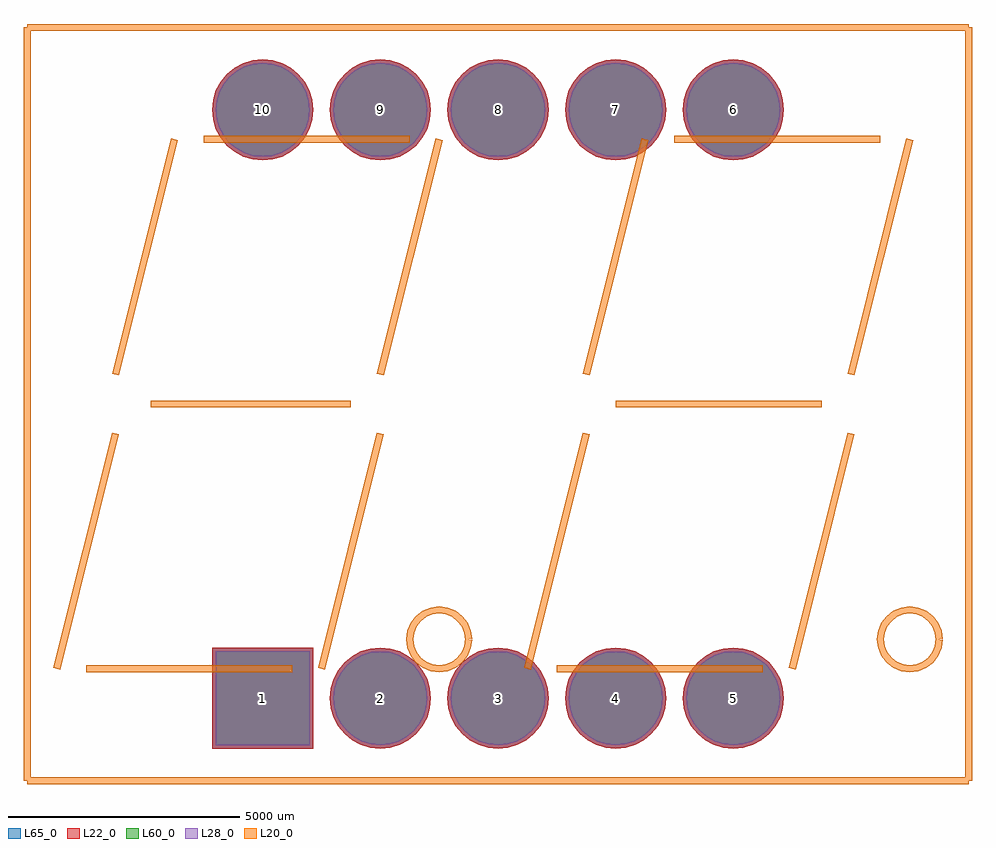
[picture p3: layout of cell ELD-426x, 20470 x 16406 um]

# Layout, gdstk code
import gdstk
lib = gdstk.Library(unit=1e-6, precision=1e-09)
def R(c, l, rs):  # rectangles x0, y0, x1, y1
    for r in rs: c.add(gdstk.rectangle(r[:2], r[2:], *l))
def P(c, l, *ps):  # polygons
    for p in ps: c.add(gdstk.Polygon(p, *l))
L20_0 = (20, 0)
L22_0 = (22, 0)
L28_0 = (28, 0)
L60_0 = (60, 0)
L65_0 = (65, 0)

eld_426x = lib.new_cell('ELD-426x')
R(eld_426x, L22_0, [(-6171,-7441,-3989,-5259)])
P(eld_426x, L22_0, [(1091,6350),(1070.037,6562.844),(1007.953,6767.508),(907.133,6956.127),(771.453,7121.453),(606.127,7257.133),(417.508,7357.953),(212.844,7420.037),(0,7441),(-212.844,7420.037),(-417.508,7357.953),(-606.127,7257.133),(-771.453,7121.453),(-907.133,6956.127),(-1007.953,6767.508),(-1070.037,6562.844),(-1091,6350),(-1070.037,6137.156),(-1007.953,5932.492),(-907.133,5743.873),(-771.453,5578.547),(-606.127,5442.867),(-417.508,5342.047),(-212.844,5279.963),(0,5259),(212.844,5279.963),(417.508,5342.047),(606.127,5442.867),(771.453,5578.547),(907.133,5743.873),(1007.953,5932.492),(1070.037,6137.156)],
  [(6171,6350),(6150.037,6562.844),(6087.953,6767.508),(5987.133,6956.127),(5851.453,7121.453),(5686.127,7257.133),(5497.508,7357.953),(5292.844,7420.037),(5080,7441),(4867.156,7420.037),(4662.492,7357.953),(4473.873,7257.133),(4308.547,7121.453),(4172.867,6956.127),(4072.047,6767.508),(4009.963,6562.844),(3989,6350),(4009.963,6137.156),(4072.047,5932.492),(4172.867,5743.873),(4308.547,5578.547),(4473.873,5442.867),(4662.492,5342.047),(4867.156,5279.963),(5080,5259),(5292.844,5279.963),(5497.508,5342.047),(5686.127,5442.867),(5851.453,5578.547),(5987.133,5743.873),(6087.953,5932.492),(6150.037,6137.156)],
  [(3631,6350),(3610.037,6562.844),(3547.953,6767.508),(3447.133,6956.127),(3311.453,7121.453),(3146.127,7257.133),(2957.508,7357.953),(2752.844,7420.037),(2540,7441),(2327.156,7420.037),(2122.492,7357.953),(1933.873,7257.133),(1768.547,7121.453),(1632.867,6956.127),(1532.047,6767.508),(1469.963,6562.844),(1449,6350),(1469.963,6137.156),(1532.047,5932.492),(1632.867,5743.873),(1768.547,5578.547),(1933.873,5442.867),(2122.492,5342.047),(2327.156,5279.963),(2540,5259),(2752.844,5279.963),(2957.508,5342.047),(3146.127,5442.867),(3311.453,5578.547),(3447.133,5743.873),(3547.953,5932.492),(3610.037,6137.156)],
  [(6171,-6350),(6150.037,-6137.156),(6087.953,-5932.492),(5987.133,-5743.873),(5851.453,-5578.547),(5686.127,-5442.867),(5497.508,-5342.047),(5292.844,-5279.963),(5080,-5259),(4867.156,-5279.963),(4662.492,-5342.047),(4473.873,-5442.867),(4308.547,-5578.547),(4172.867,-5743.873),(4072.047,-5932.492),(4009.963,-6137.156),(3989,-6350),(4009.963,-6562.844),(4072.047,-6767.508),(4172.867,-6956.127),(4308.547,-7121.453),(4473.873,-7257.133),(4662.492,-7357.953),(4867.156,-7420.037),(5080,-7441),(5292.844,-7420.037),(5497.508,-7357.953),(5686.127,-7257.133),(5851.453,-7121.453),(5987.133,-6956.127),(6087.953,-6767.508),(6150.037,-6562.844)],
  [(-3989,6350),(-4009.963,6562.844),(-4072.047,6767.508),(-4172.867,6956.127),(-4308.547,7121.453),(-4473.873,7257.133),(-4662.492,7357.953),(-4867.156,7420.037),(-5080,7441),(-5292.844,7420.037),(-5497.508,7357.953),(-5686.127,7257.133),(-5851.453,7121.453),(-5987.133,6956.127),(-6087.953,6767.508),(-6150.037,6562.844),(-6171,6350),(-6150.037,6137.156),(-6087.953,5932.492),(-5987.133,5743.873),(-5851.453,5578.547),(-5686.127,5442.867),(-5497.508,5342.047),(-5292.844,5279.963),(-5080,5259),(-4867.156,5279.963),(-4662.492,5342.047),(-4473.873,5442.867),(-4308.547,5578.547),(-4172.867,5743.873),(-4072.047,5932.492),(-4009.963,6137.156)],
  [(-1449,6350),(-1469.963,6562.844),(-1532.047,6767.508),(-1632.867,6956.127),(-1768.547,7121.453),(-1933.873,7257.133),(-2122.492,7357.953),(-2327.156,7420.037),(-2540,7441),(-2752.844,7420.037),(-2957.508,7357.953),(-3146.127,7257.133),(-3311.453,7121.453),(-3447.133,6956.127),(-3547.953,6767.508),(-3610.037,6562.844),(-3631,6350),(-3610.037,6137.156),(-3547.953,5932.492),(-3447.133,5743.873),(-3311.453,5578.547),(-3146.127,5442.867),(-2957.508,5342.047),(-2752.844,5279.963),(-2540,5259),(-2327.156,5279.963),(-2122.492,5342.047),(-1933.873,5442.867),(-1768.547,5578.547),(-1632.867,5743.873),(-1532.047,5932.492),(-1469.963,6137.156)],
  [(3631,-6350),(3610.037,-6137.156),(3547.953,-5932.492),(3447.133,-5743.873),(3311.453,-5578.547),(3146.127,-5442.867),(2957.508,-5342.047),(2752.844,-5279.963),(2540,-5259),(2327.156,-5279.963),(2122.492,-5342.047),(1933.873,-5442.867),(1768.547,-5578.547),(1632.867,-5743.873),(1532.047,-5932.492),(1469.963,-6137.156),(1449,-6350),(1469.963,-6562.844),(1532.047,-6767.508),(1632.867,-6956.127),(1768.547,-7121.453),(1933.873,-7257.133),(2122.492,-7357.953),(2327.156,-7420.037),(2540,-7441),(2752.844,-7420.037),(2957.508,-7357.953),(3146.127,-7257.133),(3311.453,-7121.453),(3447.133,-6956.127),(3547.953,-6767.508),(3610.037,-6562.844)],
  [(1091,-6350),(1070.037,-6137.156),(1007.953,-5932.492),(907.133,-5743.873),(771.453,-5578.547),(606.127,-5442.867),(417.508,-5342.047),(212.844,-5279.963),(0,-5259),(-212.844,-5279.963),(-417.508,-5342.047),(-606.127,-5442.867),(-771.453,-5578.547),(-907.133,-5743.873),(-1007.953,-5932.492),(-1070.037,-6137.156),(-1091,-6350),(-1070.037,-6562.844),(-1007.953,-6767.508),(-907.133,-6956.127),(-771.453,-7121.453),(-606.127,-7257.133),(-417.508,-7357.953),(-212.844,-7420.037),(0,-7441),(212.844,-7420.037),(417.508,-7357.953),(606.127,-7257.133),(771.453,-7121.453),(907.133,-6956.127),(1007.953,-6767.508),(1070.037,-6562.844)],
  [(-1449,-6350),(-1469.963,-6137.156),(-1532.047,-5932.492),(-1632.867,-5743.873),(-1768.547,-5578.547),(-1933.873,-5442.867),(-2122.492,-5342.047),(-2327.156,-5279.963),(-2540,-5259),(-2752.844,-5279.963),(-2957.508,-5342.047),(-3146.127,-5442.867),(-3311.453,-5578.547),(-3447.133,-5743.873),(-3547.953,-5932.492),(-3610.037,-6137.156),(-3631,-6350),(-3610.037,-6562.844),(-3547.953,-6767.508),(-3447.133,-6956.127),(-3311.453,-7121.453),(-3146.127,-7257.133),(-2957.508,-7357.953),(-2752.844,-7420.037),(-2540,-7441),(-2327.156,-7420.037),(-2122.492,-7357.953),(-1933.873,-7257.133),(-1768.547,-7121.453),(-1632.867,-6956.127),(-1532.047,-6767.508),(-1469.963,-6562.844)])
R(eld_426x, L28_0, [(-6096,-7366,-4064,-5334)])
P(eld_426x, L28_0, [(1016,6350),(996.478,6548.212),(938.662,6738.806),(844.773,6914.459),(718.42,7068.42),(564.459,7194.773),(388.806,7288.662),(198.212,7346.478),(0,7366),(-198.212,7346.478),(-388.806,7288.662),(-564.459,7194.773),(-718.42,7068.42),(-844.773,6914.459),(-938.662,6738.806),(-996.478,6548.212),(-1016,6350),(-996.478,6151.788),(-938.662,5961.194),(-844.773,5785.541),(-718.42,5631.58),(-564.459,5505.227),(-388.806,5411.338),(-198.212,5353.522),(0,5334),(198.212,5353.522),(388.806,5411.338),(564.459,5505.227),(718.42,5631.58),(844.773,5785.541),(938.662,5961.194),(996.478,6151.788)],
  [(6096,6350),(6076.478,6548.212),(6018.662,6738.806),(5924.773,6914.459),(5798.42,7068.42),(5644.459,7194.773),(5468.806,7288.662),(5278.212,7346.478),(5080,7366),(4881.788,7346.478),(4691.194,7288.662),(4515.541,7194.773),(4361.58,7068.42),(4235.227,6914.459),(4141.338,6738.806),(4083.522,6548.212),(4064,6350),(4083.522,6151.788),(4141.338,5961.194),(4235.227,5785.541),(4361.58,5631.58),(4515.541,5505.227),(4691.194,5411.338),(4881.788,5353.522),(5080,5334),(5278.212,5353.522),(5468.806,5411.338),(5644.459,5505.227),(5798.42,5631.58),(5924.773,5785.541),(6018.662,5961.194),(6076.478,6151.788)],
  [(3556,6350),(3536.478,6548.212),(3478.662,6738.806),(3384.773,6914.459),(3258.42,7068.42),(3104.459,7194.773),(2928.806,7288.662),(2738.212,7346.478),(2540,7366),(2341.788,7346.478),(2151.194,7288.662),(1975.541,7194.773),(1821.58,7068.42),(1695.227,6914.459),(1601.338,6738.806),(1543.522,6548.212),(1524,6350),(1543.522,6151.788),(1601.338,5961.194),(1695.227,5785.541),(1821.58,5631.58),(1975.541,5505.227),(2151.194,5411.338),(2341.788,5353.522),(2540,5334),(2738.212,5353.522),(2928.806,5411.338),(3104.459,5505.227),(3258.42,5631.58),(3384.773,5785.541),(3478.662,5961.194),(3536.478,6151.788)],
  [(6096,-6350),(6076.478,-6151.788),(6018.662,-5961.194),(5924.773,-5785.541),(5798.42,-5631.58),(5644.459,-5505.227),(5468.806,-5411.338),(5278.212,-5353.522),(5080,-5334),(4881.788,-5353.522),(4691.194,-5411.338),(4515.541,-5505.227),(4361.58,-5631.58),(4235.227,-5785.541),(4141.338,-5961.194),(4083.522,-6151.788),(4064,-6350),(4083.522,-6548.212),(4141.338,-6738.806),(4235.227,-6914.459),(4361.58,-7068.42),(4515.541,-7194.773),(4691.194,-7288.662),(4881.788,-7346.478),(5080,-7366),(5278.212,-7346.478),(5468.806,-7288.662),(5644.459,-7194.773),(5798.42,-7068.42),(5924.773,-6914.459),(6018.662,-6738.806),(6076.478,-6548.212)],
  [(-4064,6350),(-4083.522,6548.212),(-4141.338,6738.806),(-4235.227,6914.459),(-4361.58,7068.42),(-4515.541,7194.773),(-4691.194,7288.662),(-4881.788,7346.478),(-5080,7366),(-5278.212,7346.478),(-5468.806,7288.662),(-5644.459,7194.773),(-5798.42,7068.42),(-5924.773,6914.459),(-6018.662,6738.806),(-6076.478,6548.212),(-6096,6350),(-6076.478,6151.788),(-6018.662,5961.194),(-5924.773,5785.541),(-5798.42,5631.58),(-5644.459,5505.227),(-5468.806,5411.338),(-5278.212,5353.522),(-5080,5334),(-4881.788,5353.522),(-4691.194,5411.338),(-4515.541,5505.227),(-4361.58,5631.58),(-4235.227,5785.541),(-4141.338,5961.194),(-4083.522,6151.788)],
  [(-1524,6350),(-1543.522,6548.212),(-1601.338,6738.806),(-1695.227,6914.459),(-1821.58,7068.42),(-1975.541,7194.773),(-2151.194,7288.662),(-2341.788,7346.478),(-2540,7366),(-2738.212,7346.478),(-2928.806,7288.662),(-3104.459,7194.773),(-3258.42,7068.42),(-3384.773,6914.459),(-3478.662,6738.806),(-3536.478,6548.212),(-3556,6350),(-3536.478,6151.788),(-3478.662,5961.194),(-3384.773,5785.541),(-3258.42,5631.58),(-3104.459,5505.227),(-2928.806,5411.338),(-2738.212,5353.522),(-2540,5334),(-2341.788,5353.522),(-2151.194,5411.338),(-1975.541,5505.227),(-1821.58,5631.58),(-1695.227,5785.541),(-1601.338,5961.194),(-1543.522,6151.788)],
  [(3556,-6350),(3536.478,-6151.788),(3478.662,-5961.194),(3384.773,-5785.541),(3258.42,-5631.58),(3104.459,-5505.227),(2928.806,-5411.338),(2738.212,-5353.522),(2540,-5334),(2341.788,-5353.522),(2151.194,-5411.338),(1975.541,-5505.227),(1821.58,-5631.58),(1695.227,-5785.541),(1601.338,-5961.194),(1543.522,-6151.788),(1524,-6350),(1543.522,-6548.212),(1601.338,-6738.806),(1695.227,-6914.459),(1821.58,-7068.42),(1975.541,-7194.773),(2151.194,-7288.662),(2341.788,-7346.478),(2540,-7366),(2738.212,-7346.478),(2928.806,-7288.662),(3104.459,-7194.773),(3258.42,-7068.42),(3384.773,-6914.459),(3478.662,-6738.806),(3536.478,-6548.212)],
  [(1016,-6350),(996.478,-6151.788),(938.662,-5961.194),(844.773,-5785.541),(718.42,-5631.58),(564.459,-5505.227),(388.806,-5411.338),(198.212,-5353.522),(0,-5334),(-198.212,-5353.522),(-388.806,-5411.338),(-564.459,-5505.227),(-718.42,-5631.58),(-844.773,-5785.541),(-938.662,-5961.194),(-996.478,-6151.788),(-1016,-6350),(-996.478,-6548.212),(-938.662,-6738.806),(-844.773,-6914.459),(-718.42,-7068.42),(-564.459,-7194.773),(-388.806,-7288.662),(-198.212,-7346.478),(0,-7366),(198.212,-7346.478),(388.806,-7288.662),(564.459,-7194.773),(718.42,-7068.42),(844.773,-6914.459),(938.662,-6738.806),(996.478,-6548.212)],
  [(-1524,-6350),(-1543.522,-6151.788),(-1601.338,-5961.194),(-1695.227,-5785.541),(-1821.58,-5631.58),(-1975.541,-5505.227),(-2151.194,-5411.338),(-2341.788,-5353.522),(-2540,-5334),(-2738.212,-5353.522),(-2928.806,-5411.338),(-3104.459,-5505.227),(-3258.42,-5631.58),(-3384.773,-5785.541),(-3478.662,-5961.194),(-3536.478,-6151.788),(-3556,-6350),(-3536.478,-6548.212),(-3478.662,-6738.806),(-3384.773,-6914.459),(-3258.42,-7068.42),(-3104.459,-7194.773),(-2928.806,-7288.662),(-2738.212,-7346.478),(-2540,-7366),(-2341.788,-7346.478),(-2151.194,-7288.662),(-1975.541,-7194.773),(-1821.58,-7068.42),(-1695.227,-6914.459),(-1601.338,-6738.806),(-1543.522,-6548.212)])
R(eld_426x, L60_0, [(-6096,-7366,-4064,-5334)])
P(eld_426x, L60_0, [(1016,6350),(996.478,6548.212),(938.662,6738.806),(844.773,6914.459),(718.42,7068.42),(564.459,7194.773),(388.806,7288.662),(198.212,7346.478),(0,7366),(-198.212,7346.478),(-388.806,7288.662),(-564.459,7194.773),(-718.42,7068.42),(-844.773,6914.459),(-938.662,6738.806),(-996.478,6548.212),(-1016,6350),(-996.478,6151.788),(-938.662,5961.194),(-844.773,5785.541),(-718.42,5631.58),(-564.459,5505.227),(-388.806,5411.338),(-198.212,5353.522),(0,5334),(198.212,5353.522),(388.806,5411.338),(564.459,5505.227),(718.42,5631.58),(844.773,5785.541),(938.662,5961.194),(996.478,6151.788)],
  [(6096,6350),(6076.478,6548.212),(6018.662,6738.806),(5924.773,6914.459),(5798.42,7068.42),(5644.459,7194.773),(5468.806,7288.662),(5278.212,7346.478),(5080,7366),(4881.788,7346.478),(4691.194,7288.662),(4515.541,7194.773),(4361.58,7068.42),(4235.227,6914.459),(4141.338,6738.806),(4083.522,6548.212),(4064,6350),(4083.522,6151.788),(4141.338,5961.194),(4235.227,5785.541),(4361.58,5631.58),(4515.541,5505.227),(4691.194,5411.338),(4881.788,5353.522),(5080,5334),(5278.212,5353.522),(5468.806,5411.338),(5644.459,5505.227),(5798.42,5631.58),(5924.773,5785.541),(6018.662,5961.194),(6076.478,6151.788)],
  [(3556,6350),(3536.478,6548.212),(3478.662,6738.806),(3384.773,6914.459),(3258.42,7068.42),(3104.459,7194.773),(2928.806,7288.662),(2738.212,7346.478),(2540,7366),(2341.788,7346.478),(2151.194,7288.662),(1975.541,7194.773),(1821.58,7068.42),(1695.227,6914.459),(1601.338,6738.806),(1543.522,6548.212),(1524,6350),(1543.522,6151.788),(1601.338,5961.194),(1695.227,5785.541),(1821.58,5631.58),(1975.541,5505.227),(2151.194,5411.338),(2341.788,5353.522),(2540,5334),(2738.212,5353.522),(2928.806,5411.338),(3104.459,5505.227),(3258.42,5631.58),(3384.773,5785.541),(3478.662,5961.194),(3536.478,6151.788)],
  [(6096,-6350),(6076.478,-6151.788),(6018.662,-5961.194),(5924.773,-5785.541),(5798.42,-5631.58),(5644.459,-5505.227),(5468.806,-5411.338),(5278.212,-5353.522),(5080,-5334),(4881.788,-5353.522),(4691.194,-5411.338),(4515.541,-5505.227),(4361.58,-5631.58),(4235.227,-5785.541),(4141.338,-5961.194),(4083.522,-6151.788),(4064,-6350),(4083.522,-6548.212),(4141.338,-6738.806),(4235.227,-6914.459),(4361.58,-7068.42),(4515.541,-7194.773),(4691.194,-7288.662),(4881.788,-7346.478),(5080,-7366),(5278.212,-7346.478),(5468.806,-7288.662),(5644.459,-7194.773),(5798.42,-7068.42),(5924.773,-6914.459),(6018.662,-6738.806),(6076.478,-6548.212)],
  [(-4064,6350),(-4083.522,6548.212),(-4141.338,6738.806),(-4235.227,6914.459),(-4361.58,7068.42),(-4515.541,7194.773),(-4691.194,7288.662),(-4881.788,7346.478),(-5080,7366),(-5278.212,7346.478),(-5468.806,7288.662),(-5644.459,7194.773),(-5798.42,7068.42),(-5924.773,6914.459),(-6018.662,6738.806),(-6076.478,6548.212),(-6096,6350),(-6076.478,6151.788),(-6018.662,5961.194),(-5924.773,5785.541),(-5798.42,5631.58),(-5644.459,5505.227),(-5468.806,5411.338),(-5278.212,5353.522),(-5080,5334),(-4881.788,5353.522),(-4691.194,5411.338),(-4515.541,5505.227),(-4361.58,5631.58),(-4235.227,5785.541),(-4141.338,5961.194),(-4083.522,6151.788)],
  [(-1524,6350),(-1543.522,6548.212),(-1601.338,6738.806),(-1695.227,6914.459),(-1821.58,7068.42),(-1975.541,7194.773),(-2151.194,7288.662),(-2341.788,7346.478),(-2540,7366),(-2738.212,7346.478),(-2928.806,7288.662),(-3104.459,7194.773),(-3258.42,7068.42),(-3384.773,6914.459),(-3478.662,6738.806),(-3536.478,6548.212),(-3556,6350),(-3536.478,6151.788),(-3478.662,5961.194),(-3384.773,5785.541),(-3258.42,5631.58),(-3104.459,5505.227),(-2928.806,5411.338),(-2738.212,5353.522),(-2540,5334),(-2341.788,5353.522),(-2151.194,5411.338),(-1975.541,5505.227),(-1821.58,5631.58),(-1695.227,5785.541),(-1601.338,5961.194),(-1543.522,6151.788)],
  [(3556,-6350),(3536.478,-6151.788),(3478.662,-5961.194),(3384.773,-5785.541),(3258.42,-5631.58),(3104.459,-5505.227),(2928.806,-5411.338),(2738.212,-5353.522),(2540,-5334),(2341.788,-5353.522),(2151.194,-5411.338),(1975.541,-5505.227),(1821.58,-5631.58),(1695.227,-5785.541),(1601.338,-5961.194),(1543.522,-6151.788),(1524,-6350),(1543.522,-6548.212),(1601.338,-6738.806),(1695.227,-6914.459),(1821.58,-7068.42),(1975.541,-7194.773),(2151.194,-7288.662),(2341.788,-7346.478),(2540,-7366),(2738.212,-7346.478),(2928.806,-7288.662),(3104.459,-7194.773),(3258.42,-7068.42),(3384.773,-6914.459),(3478.662,-6738.806),(3536.478,-6548.212)],
  [(1016,-6350),(996.478,-6151.788),(938.662,-5961.194),(844.773,-5785.541),(718.42,-5631.58),(564.459,-5505.227),(388.806,-5411.338),(198.212,-5353.522),(0,-5334),(-198.212,-5353.522),(-388.806,-5411.338),(-564.459,-5505.227),(-718.42,-5631.58),(-844.773,-5785.541),(-938.662,-5961.194),(-996.478,-6151.788),(-1016,-6350),(-996.478,-6548.212),(-938.662,-6738.806),(-844.773,-6914.459),(-718.42,-7068.42),(-564.459,-7194.773),(-388.806,-7288.662),(-198.212,-7346.478),(0,-7366),(198.212,-7346.478),(388.806,-7288.662),(564.459,-7194.773),(718.42,-7068.42),(844.773,-6914.459),(938.662,-6738.806),(996.478,-6548.212)],
  [(-1524,-6350),(-1543.522,-6151.788),(-1601.338,-5961.194),(-1695.227,-5785.541),(-1821.58,-5631.58),(-1975.541,-5505.227),(-2151.194,-5411.338),(-2341.788,-5353.522),(-2540,-5334),(-2738.212,-5353.522),(-2928.806,-5411.338),(-3104.459,-5505.227),(-3258.42,-5631.58),(-3384.773,-5785.541),(-3478.662,-5961.194),(-3536.478,-6151.788),(-3556,-6350),(-3536.478,-6548.212),(-3478.662,-6738.806),(-3384.773,-6914.459),(-3258.42,-7068.42),(-3104.459,-7194.773),(-2928.806,-7288.662),(-2738.212,-7346.478),(-2540,-7366),(-2341.788,-7346.478),(-2151.194,-7288.662),(-1975.541,-7194.773),(-1821.58,-7068.42),(-1695.227,-6914.459),(-1601.338,-6738.806),(-1543.522,-6548.212)])
R(eld_426x, L65_0, [(-6171,-7441,-3989,-5259)])
P(eld_426x, L65_0, [(1091,6350),(1070.037,6562.844),(1007.953,6767.508),(907.133,6956.127),(771.453,7121.453),(606.127,7257.133),(417.508,7357.953),(212.844,7420.037),(0,7441),(-212.844,7420.037),(-417.508,7357.953),(-606.127,7257.133),(-771.453,7121.453),(-907.133,6956.127),(-1007.953,6767.508),(-1070.037,6562.844),(-1091,6350),(-1070.037,6137.156),(-1007.953,5932.492),(-907.133,5743.873),(-771.453,5578.547),(-606.127,5442.867),(-417.508,5342.047),(-212.844,5279.963),(0,5259),(212.844,5279.963),(417.508,5342.047),(606.127,5442.867),(771.453,5578.547),(907.133,5743.873),(1007.953,5932.492),(1070.037,6137.156)],
  [(6171,6350),(6150.037,6562.844),(6087.953,6767.508),(5987.133,6956.127),(5851.453,7121.453),(5686.127,7257.133),(5497.508,7357.953),(5292.844,7420.037),(5080,7441),(4867.156,7420.037),(4662.492,7357.953),(4473.873,7257.133),(4308.547,7121.453),(4172.867,6956.127),(4072.047,6767.508),(4009.963,6562.844),(3989,6350),(4009.963,6137.156),(4072.047,5932.492),(4172.867,5743.873),(4308.547,5578.547),(4473.873,5442.867),(4662.492,5342.047),(4867.156,5279.963),(5080,5259),(5292.844,5279.963),(5497.508,5342.047),(5686.127,5442.867),(5851.453,5578.547),(5987.133,5743.873),(6087.953,5932.492),(6150.037,6137.156)],
  [(3631,6350),(3610.037,6562.844),(3547.953,6767.508),(3447.133,6956.127),(3311.453,7121.453),(3146.127,7257.133),(2957.508,7357.953),(2752.844,7420.037),(2540,7441),(2327.156,7420.037),(2122.492,7357.953),(1933.873,7257.133),(1768.547,7121.453),(1632.867,6956.127),(1532.047,6767.508),(1469.963,6562.844),(1449,6350),(1469.963,6137.156),(1532.047,5932.492),(1632.867,5743.873),(1768.547,5578.547),(1933.873,5442.867),(2122.492,5342.047),(2327.156,5279.963),(2540,5259),(2752.844,5279.963),(2957.508,5342.047),(3146.127,5442.867),(3311.453,5578.547),(3447.133,5743.873),(3547.953,5932.492),(3610.037,6137.156)],
  [(6171,-6350),(6150.037,-6137.156),(6087.953,-5932.492),(5987.133,-5743.873),(5851.453,-5578.547),(5686.127,-5442.867),(5497.508,-5342.047),(5292.844,-5279.963),(5080,-5259),(4867.156,-5279.963),(4662.492,-5342.047),(4473.873,-5442.867),(4308.547,-5578.547),(4172.867,-5743.873),(4072.047,-5932.492),(4009.963,-6137.156),(3989,-6350),(4009.963,-6562.844),(4072.047,-6767.508),(4172.867,-6956.127),(4308.547,-7121.453),(4473.873,-7257.133),(4662.492,-7357.953),(4867.156,-7420.037),(5080,-7441),(5292.844,-7420.037),(5497.508,-7357.953),(5686.127,-7257.133),(5851.453,-7121.453),(5987.133,-6956.127),(6087.953,-6767.508),(6150.037,-6562.844)],
  [(-3989,6350),(-4009.963,6562.844),(-4072.047,6767.508),(-4172.867,6956.127),(-4308.547,7121.453),(-4473.873,7257.133),(-4662.492,7357.953),(-4867.156,7420.037),(-5080,7441),(-5292.844,7420.037),(-5497.508,7357.953),(-5686.127,7257.133),(-5851.453,7121.453),(-5987.133,6956.127),(-6087.953,6767.508),(-6150.037,6562.844),(-6171,6350),(-6150.037,6137.156),(-6087.953,5932.492),(-5987.133,5743.873),(-5851.453,5578.547),(-5686.127,5442.867),(-5497.508,5342.047),(-5292.844,5279.963),(-5080,5259),(-4867.156,5279.963),(-4662.492,5342.047),(-4473.873,5442.867),(-4308.547,5578.547),(-4172.867,5743.873),(-4072.047,5932.492),(-4009.963,6137.156)],
  [(-1449,6350),(-1469.963,6562.844),(-1532.047,6767.508),(-1632.867,6956.127),(-1768.547,7121.453),(-1933.873,7257.133),(-2122.492,7357.953),(-2327.156,7420.037),(-2540,7441),(-2752.844,7420.037),(-2957.508,7357.953),(-3146.127,7257.133),(-3311.453,7121.453),(-3447.133,6956.127),(-3547.953,6767.508),(-3610.037,6562.844),(-3631,6350),(-3610.037,6137.156),(-3547.953,5932.492),(-3447.133,5743.873),(-3311.453,5578.547),(-3146.127,5442.867),(-2957.508,5342.047),(-2752.844,5279.963),(-2540,5259),(-2327.156,5279.963),(-2122.492,5342.047),(-1933.873,5442.867),(-1768.547,5578.547),(-1632.867,5743.873),(-1532.047,5932.492),(-1469.963,6137.156)],
  [(3631,-6350),(3610.037,-6137.156),(3547.953,-5932.492),(3447.133,-5743.873),(3311.453,-5578.547),(3146.127,-5442.867),(2957.508,-5342.047),(2752.844,-5279.963),(2540,-5259),(2327.156,-5279.963),(2122.492,-5342.047),(1933.873,-5442.867),(1768.547,-5578.547),(1632.867,-5743.873),(1532.047,-5932.492),(1469.963,-6137.156),(1449,-6350),(1469.963,-6562.844),(1532.047,-6767.508),(1632.867,-6956.127),(1768.547,-7121.453),(1933.873,-7257.133),(2122.492,-7357.953),(2327.156,-7420.037),(2540,-7441),(2752.844,-7420.037),(2957.508,-7357.953),(3146.127,-7257.133),(3311.453,-7121.453),(3447.133,-6956.127),(3547.953,-6767.508),(3610.037,-6562.844)],
  [(1091,-6350),(1070.037,-6137.156),(1007.953,-5932.492),(907.133,-5743.873),(771.453,-5578.547),(606.127,-5442.867),(417.508,-5342.047),(212.844,-5279.963),(0,-5259),(-212.844,-5279.963),(-417.508,-5342.047),(-606.127,-5442.867),(-771.453,-5578.547),(-907.133,-5743.873),(-1007.953,-5932.492),(-1070.037,-6137.156),(-1091,-6350),(-1070.037,-6562.844),(-1007.953,-6767.508),(-907.133,-6956.127),(-771.453,-7121.453),(-606.127,-7257.133),(-417.508,-7357.953),(-212.844,-7420.037),(0,-7441),(212.844,-7420.037),(417.508,-7357.953),(606.127,-7257.133),(771.453,-7121.453),(907.133,-6956.127),(1007.953,-6767.508),(1070.037,-6562.844)],
  [(-1449,-6350),(-1469.963,-6137.156),(-1532.047,-5932.492),(-1632.867,-5743.873),(-1768.547,-5578.547),(-1933.873,-5442.867),(-2122.492,-5342.047),(-2327.156,-5279.963),(-2540,-5259),(-2752.844,-5279.963),(-2957.508,-5342.047),(-3146.127,-5442.867),(-3311.453,-5578.547),(-3447.133,-5743.873),(-3547.953,-5932.492),(-3610.037,-6137.156),(-3631,-6350),(-3610.037,-6562.844),(-3547.953,-6767.508),(-3447.133,-6956.127),(-3311.453,-7121.453),(-3146.127,-7257.133),(-2957.508,-7357.953),(-2752.844,-7420.037),(-2540,-7441),(-2327.156,-7420.037),(-2122.492,-7357.953),(-1933.873,-7257.133),(-1768.547,-7121.453),(-1632.867,-6956.127),(-1532.047,-6767.508),(-1469.963,-6562.844)])
eld_426x.add(gdstk.FlexPath([(-7493,0),(-3175,0)], 149.998, ends="flush", simple_path=True, layer=20, datatype=0))  # L20_0
eld_426x.add(gdstk.FlexPath([(-635,-5080),(-656.637,-4915.65),(-720.074,-4762.5),(-820.987,-4630.987),(-952.5,-4530.074),(-1105.65,-4466.637),(-1270,-4445),(-1434.35,-4466.637),(-1587.5,-4530.074),(-1719.013,-4630.987),(-1819.926,-4762.5),(-1883.363,-4915.65),(-1905,-5080),(-1883.363,-5244.35),(-1819.926,-5397.5),(-1719.013,-5529.013),(-1587.5,-5629.926),(-1434.35,-5693.363),(-1270,-5715),(-1105.65,-5693.363),(-952.5,-5629.926),(-820.987,-5529.013),(-720.074,-5397.5),(-656.637,-5244.35),(-635,-5080)], 149.998, ends="flush", simple_path=True, layer=20, datatype=0))  # L20_0
eld_426x.add(gdstk.FlexPath([(-7366,0),(-3302,0)], 149.998, ends="flush", simple_path=True, layer=20, datatype=0))  # L20_0
eld_426x.add(gdstk.FlexPath([(2540,0),(6985,0)], 149.998, ends="flush", simple_path=True, layer=20, datatype=0))  # L20_0
eld_426x.add(gdstk.FlexPath([(1905,635),(3175,5715)], 149.998, ends="flush", simple_path=True, layer=20, datatype=0))  # L20_0
eld_426x.add(gdstk.FlexPath([(7620,635),(8890,5715)], 149.998, ends="flush", simple_path=True, layer=20, datatype=0))  # L20_0
eld_426x.add(gdstk.FlexPath([(635,-5715),(1905,-635)], 149.998, ends="flush", simple_path=True, layer=20, datatype=0))  # L20_0
eld_426x.add(gdstk.FlexPath([(7620,-635),(6350,-5715)], 149.998, ends="flush", simple_path=True, layer=20, datatype=0))  # L20_0
eld_426x.add(gdstk.FlexPath([(1270,-5715),(5715,-5715)], 149.998, ends="flush", simple_path=True, layer=20, datatype=0))  # L20_0
eld_426x.add(gdstk.FlexPath([(3810,5715),(8255,5715)], 149.998, ends="flush", simple_path=True, layer=20, datatype=0))  # L20_0
eld_426x.add(gdstk.FlexPath([(9525,-5080),(9503.363,-4915.65),(9439.926,-4762.5),(9339.013,-4630.987),(9207.5,-4530.074),(9054.35,-4466.637),(8890,-4445),(8725.65,-4466.637),(8572.5,-4530.074),(8440.987,-4630.987),(8340.074,-4762.5),(8276.637,-4915.65),(8255,-5080),(8276.637,-5244.35),(8340.074,-5397.5),(8440.987,-5529.013),(8572.5,-5629.926),(8725.65,-5693.363),(8890,-5715),(9054.35,-5693.363),(9207.5,-5629.926),(9339.013,-5529.013),(9439.926,-5397.5),(9503.363,-5244.35),(9525,-5080)], 149.998, ends="flush", simple_path=True, layer=20, datatype=0))  # L20_0
eld_426x.add(gdstk.FlexPath([(-2540,-635),(-3810,-5715)], 149.998, ends="flush", simple_path=True, layer=20, datatype=0))  # L20_0
eld_426x.add(gdstk.FlexPath([(-8255,-635),(-9525,-5715)], 149.998, ends="flush", simple_path=True, layer=20, datatype=0))  # L20_0
eld_426x.add(gdstk.FlexPath([(-8890,-5715),(-4445,-5715)], 149.998, ends="flush", simple_path=True, layer=20, datatype=0))  # L20_0
eld_426x.add(gdstk.FlexPath([(-8255,635),(-6985,5715)], 149.998, ends="flush", simple_path=True, layer=20, datatype=0))  # L20_0
eld_426x.add(gdstk.FlexPath([(-2540,635),(-1270,5715)], 149.998, ends="flush", simple_path=True, layer=20, datatype=0))  # L20_0
eld_426x.add(gdstk.FlexPath([(-6350,5715),(-1905,5715)], 149.998, ends="flush", simple_path=True, layer=20, datatype=0))  # L20_0
eld_426x.add(gdstk.FlexPath([(-10160,-8128),(10160,-8128)], 149.998, ends="flush", simple_path=True, layer=20, datatype=0))  # L20_0
eld_426x.add(gdstk.FlexPath([(-10160,8128),(10160,8128)], 149.998, ends="flush", simple_path=True, layer=20, datatype=0))  # L20_0
eld_426x.add(gdstk.FlexPath([(10160,8128),(10160,-8128)], 149.998, ends="flush", simple_path=True, layer=20, datatype=0))  # L20_0
eld_426x.add(gdstk.FlexPath([(-10160,-8128),(-10160,8128)], 149.998, ends="flush", simple_path=True, layer=20, datatype=0))  # L20_0
eld_426x.add(gdstk.Label('8', (0,6350), layer=28, texttype=0))
eld_426x.add(gdstk.Label('6', (5080,6350), layer=28, texttype=0))
eld_426x.add(gdstk.Label('7', (2540,6350), layer=28, texttype=0))
eld_426x.add(gdstk.Label('5', (5080,-6350), layer=28, texttype=0))
eld_426x.add(gdstk.Label('10', (-5080,6350), layer=28, texttype=0))
eld_426x.add(gdstk.Label('9', (-2540,6350), layer=28, texttype=0))
eld_426x.add(gdstk.Label('4', (2540,-6350), layer=28, texttype=0))
eld_426x.add(gdstk.Label('3', (0,-6350), layer=28, texttype=0))
eld_426x.add(gdstk.Label('2', (-2540,-6350), layer=28, texttype=0))
eld_426x.add(gdstk.Label('1', (-5080,-6350), layer=28, texttype=0))
eld_426x.add(gdstk.Label('type', (0,-10160), layer=9, texttype=0))
eld_426x.add(gdstk.Label('devicename', (0,9652), layer=9, texttype=0))

lib.write_gds('ELD-426x.gds')
